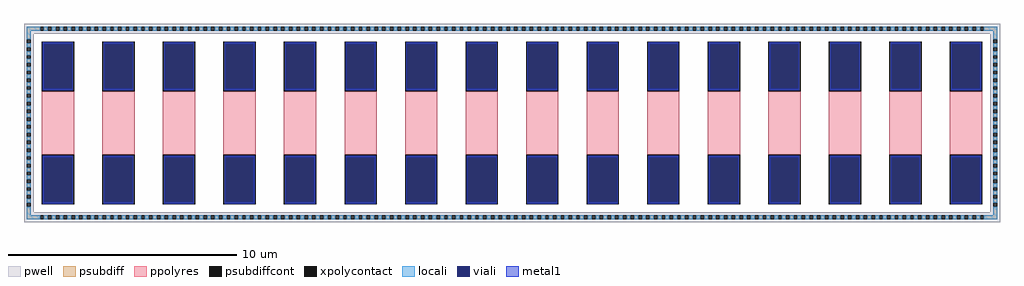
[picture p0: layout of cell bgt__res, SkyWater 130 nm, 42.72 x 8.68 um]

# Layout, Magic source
magic
tech sky130A
magscale 1 2
<< pwell >>
rect -4272 782 4272 868
rect -4272 -782 -4186 782
rect 4186 -782 4272 782
rect -4272 -868 4272 -782
<< psubdiff >>
rect -4246 808 -4131 842
rect -4097 808 -4063 842
rect -4029 808 -3995 842
rect -3961 808 -3927 842
rect -3893 808 -3859 842
rect -3825 808 -3791 842
rect -3757 808 -3723 842
rect -3689 808 -3655 842
rect -3621 808 -3587 842
rect -3553 808 -3519 842
rect -3485 808 -3451 842
rect -3417 808 -3383 842
rect -3349 808 -3315 842
rect -3281 808 -3247 842
rect -3213 808 -3179 842
rect -3145 808 -3111 842
rect -3077 808 -3043 842
rect -3009 808 -2975 842
rect -2941 808 -2907 842
rect -2873 808 -2839 842
rect -2805 808 -2771 842
rect -2737 808 -2703 842
rect -2669 808 -2635 842
rect -2601 808 -2567 842
rect -2533 808 -2499 842
rect -2465 808 -2431 842
rect -2397 808 -2363 842
rect -2329 808 -2295 842
rect -2261 808 -2227 842
rect -2193 808 -2159 842
rect -2125 808 -2091 842
rect -2057 808 -2023 842
rect -1989 808 -1955 842
rect -1921 808 -1887 842
rect -1853 808 -1819 842
rect -1785 808 -1751 842
rect -1717 808 -1683 842
rect -1649 808 -1615 842
rect -1581 808 -1547 842
rect -1513 808 -1479 842
rect -1445 808 -1411 842
rect -1377 808 -1343 842
rect -1309 808 -1275 842
rect -1241 808 -1207 842
rect -1173 808 -1139 842
rect -1105 808 -1071 842
rect -1037 808 -1003 842
rect -969 808 -935 842
rect -901 808 -867 842
rect -833 808 -799 842
rect -765 808 -731 842
rect -697 808 -663 842
rect -629 808 -595 842
rect -561 808 -527 842
rect -493 808 -459 842
rect -425 808 -391 842
rect -357 808 -323 842
rect -289 808 -255 842
rect -221 808 -187 842
rect -153 808 -119 842
rect -85 808 -51 842
rect -17 808 17 842
rect 51 808 85 842
rect 119 808 153 842
rect 187 808 221 842
rect 255 808 289 842
rect 323 808 357 842
rect 391 808 425 842
rect 459 808 493 842
rect 527 808 561 842
rect 595 808 629 842
rect 663 808 697 842
rect 731 808 765 842
rect 799 808 833 842
rect 867 808 901 842
rect 935 808 969 842
rect 1003 808 1037 842
rect 1071 808 1105 842
rect 1139 808 1173 842
rect 1207 808 1241 842
rect 1275 808 1309 842
rect 1343 808 1377 842
rect 1411 808 1445 842
rect 1479 808 1513 842
rect 1547 808 1581 842
rect 1615 808 1649 842
rect 1683 808 1717 842
rect 1751 808 1785 842
rect 1819 808 1853 842
rect 1887 808 1921 842
rect 1955 808 1989 842
rect 2023 808 2057 842
rect 2091 808 2125 842
rect 2159 808 2193 842
rect 2227 808 2261 842
rect 2295 808 2329 842
rect 2363 808 2397 842
rect 2431 808 2465 842
rect 2499 808 2533 842
rect 2567 808 2601 842
rect 2635 808 2669 842
rect 2703 808 2737 842
rect 2771 808 2805 842
rect 2839 808 2873 842
rect 2907 808 2941 842
rect 2975 808 3009 842
rect 3043 808 3077 842
rect 3111 808 3145 842
rect 3179 808 3213 842
rect 3247 808 3281 842
rect 3315 808 3349 842
rect 3383 808 3417 842
rect 3451 808 3485 842
rect 3519 808 3553 842
rect 3587 808 3621 842
rect 3655 808 3689 842
rect 3723 808 3757 842
rect 3791 808 3825 842
rect 3859 808 3893 842
rect 3927 808 3961 842
rect 3995 808 4029 842
rect 4063 808 4097 842
rect 4131 808 4246 842
rect -4246 731 -4212 808
rect 4212 731 4246 808
rect -4246 663 -4212 697
rect -4246 595 -4212 629
rect -4246 527 -4212 561
rect -4246 459 -4212 493
rect -4246 391 -4212 425
rect -4246 323 -4212 357
rect -4246 255 -4212 289
rect -4246 187 -4212 221
rect -4246 119 -4212 153
rect -4246 51 -4212 85
rect -4246 -17 -4212 17
rect -4246 -85 -4212 -51
rect -4246 -153 -4212 -119
rect -4246 -221 -4212 -187
rect -4246 -289 -4212 -255
rect -4246 -357 -4212 -323
rect -4246 -425 -4212 -391
rect -4246 -493 -4212 -459
rect -4246 -561 -4212 -527
rect -4246 -629 -4212 -595
rect -4246 -697 -4212 -663
rect 4212 663 4246 697
rect 4212 595 4246 629
rect 4212 527 4246 561
rect 4212 459 4246 493
rect 4212 391 4246 425
rect 4212 323 4246 357
rect 4212 255 4246 289
rect 4212 187 4246 221
rect 4212 119 4246 153
rect 4212 51 4246 85
rect 4212 -17 4246 17
rect 4212 -85 4246 -51
rect 4212 -153 4246 -119
rect 4212 -221 4246 -187
rect 4212 -289 4246 -255
rect 4212 -357 4246 -323
rect 4212 -425 4246 -391
rect 4212 -493 4246 -459
rect 4212 -561 4246 -527
rect 4212 -629 4246 -595
rect 4212 -697 4246 -663
rect -4246 -808 -4212 -731
rect 4212 -808 4246 -731
rect -4246 -842 -4131 -808
rect -4097 -842 -4063 -808
rect -4029 -842 -3995 -808
rect -3961 -842 -3927 -808
rect -3893 -842 -3859 -808
rect -3825 -842 -3791 -808
rect -3757 -842 -3723 -808
rect -3689 -842 -3655 -808
rect -3621 -842 -3587 -808
rect -3553 -842 -3519 -808
rect -3485 -842 -3451 -808
rect -3417 -842 -3383 -808
rect -3349 -842 -3315 -808
rect -3281 -842 -3247 -808
rect -3213 -842 -3179 -808
rect -3145 -842 -3111 -808
rect -3077 -842 -3043 -808
rect -3009 -842 -2975 -808
rect -2941 -842 -2907 -808
rect -2873 -842 -2839 -808
rect -2805 -842 -2771 -808
rect -2737 -842 -2703 -808
rect -2669 -842 -2635 -808
rect -2601 -842 -2567 -808
rect -2533 -842 -2499 -808
rect -2465 -842 -2431 -808
rect -2397 -842 -2363 -808
rect -2329 -842 -2295 -808
rect -2261 -842 -2227 -808
rect -2193 -842 -2159 -808
rect -2125 -842 -2091 -808
rect -2057 -842 -2023 -808
rect -1989 -842 -1955 -808
rect -1921 -842 -1887 -808
rect -1853 -842 -1819 -808
rect -1785 -842 -1751 -808
rect -1717 -842 -1683 -808
rect -1649 -842 -1615 -808
rect -1581 -842 -1547 -808
rect -1513 -842 -1479 -808
rect -1445 -842 -1411 -808
rect -1377 -842 -1343 -808
rect -1309 -842 -1275 -808
rect -1241 -842 -1207 -808
rect -1173 -842 -1139 -808
rect -1105 -842 -1071 -808
rect -1037 -842 -1003 -808
rect -969 -842 -935 -808
rect -901 -842 -867 -808
rect -833 -842 -799 -808
rect -765 -842 -731 -808
rect -697 -842 -663 -808
rect -629 -842 -595 -808
rect -561 -842 -527 -808
rect -493 -842 -459 -808
rect -425 -842 -391 -808
rect -357 -842 -323 -808
rect -289 -842 -255 -808
rect -221 -842 -187 -808
rect -153 -842 -119 -808
rect -85 -842 -51 -808
rect -17 -842 17 -808
rect 51 -842 85 -808
rect 119 -842 153 -808
rect 187 -842 221 -808
rect 255 -842 289 -808
rect 323 -842 357 -808
rect 391 -842 425 -808
rect 459 -842 493 -808
rect 527 -842 561 -808
rect 595 -842 629 -808
rect 663 -842 697 -808
rect 731 -842 765 -808
rect 799 -842 833 -808
rect 867 -842 901 -808
rect 935 -842 969 -808
rect 1003 -842 1037 -808
rect 1071 -842 1105 -808
rect 1139 -842 1173 -808
rect 1207 -842 1241 -808
rect 1275 -842 1309 -808
rect 1343 -842 1377 -808
rect 1411 -842 1445 -808
rect 1479 -842 1513 -808
rect 1547 -842 1581 -808
rect 1615 -842 1649 -808
rect 1683 -842 1717 -808
rect 1751 -842 1785 -808
rect 1819 -842 1853 -808
rect 1887 -842 1921 -808
rect 1955 -842 1989 -808
rect 2023 -842 2057 -808
rect 2091 -842 2125 -808
rect 2159 -842 2193 -808
rect 2227 -842 2261 -808
rect 2295 -842 2329 -808
rect 2363 -842 2397 -808
rect 2431 -842 2465 -808
rect 2499 -842 2533 -808
rect 2567 -842 2601 -808
rect 2635 -842 2669 -808
rect 2703 -842 2737 -808
rect 2771 -842 2805 -808
rect 2839 -842 2873 -808
rect 2907 -842 2941 -808
rect 2975 -842 3009 -808
rect 3043 -842 3077 -808
rect 3111 -842 3145 -808
rect 3179 -842 3213 -808
rect 3247 -842 3281 -808
rect 3315 -842 3349 -808
rect 3383 -842 3417 -808
rect 3451 -842 3485 -808
rect 3519 -842 3553 -808
rect 3587 -842 3621 -808
rect 3655 -842 3689 -808
rect 3723 -842 3757 -808
rect 3791 -842 3825 -808
rect 3859 -842 3893 -808
rect 3927 -842 3961 -808
rect 3995 -842 4029 -808
rect 4063 -842 4097 -808
rect 4131 -842 4246 -808
<< psubdiffcont >>
rect -4131 808 -4097 842
rect -4063 808 -4029 842
rect -3995 808 -3961 842
rect -3927 808 -3893 842
rect -3859 808 -3825 842
rect -3791 808 -3757 842
rect -3723 808 -3689 842
rect -3655 808 -3621 842
rect -3587 808 -3553 842
rect -3519 808 -3485 842
rect -3451 808 -3417 842
rect -3383 808 -3349 842
rect -3315 808 -3281 842
rect -3247 808 -3213 842
rect -3179 808 -3145 842
rect -3111 808 -3077 842
rect -3043 808 -3009 842
rect -2975 808 -2941 842
rect -2907 808 -2873 842
rect -2839 808 -2805 842
rect -2771 808 -2737 842
rect -2703 808 -2669 842
rect -2635 808 -2601 842
rect -2567 808 -2533 842
rect -2499 808 -2465 842
rect -2431 808 -2397 842
rect -2363 808 -2329 842
rect -2295 808 -2261 842
rect -2227 808 -2193 842
rect -2159 808 -2125 842
rect -2091 808 -2057 842
rect -2023 808 -1989 842
rect -1955 808 -1921 842
rect -1887 808 -1853 842
rect -1819 808 -1785 842
rect -1751 808 -1717 842
rect -1683 808 -1649 842
rect -1615 808 -1581 842
rect -1547 808 -1513 842
rect -1479 808 -1445 842
rect -1411 808 -1377 842
rect -1343 808 -1309 842
rect -1275 808 -1241 842
rect -1207 808 -1173 842
rect -1139 808 -1105 842
rect -1071 808 -1037 842
rect -1003 808 -969 842
rect -935 808 -901 842
rect -867 808 -833 842
rect -799 808 -765 842
rect -731 808 -697 842
rect -663 808 -629 842
rect -595 808 -561 842
rect -527 808 -493 842
rect -459 808 -425 842
rect -391 808 -357 842
rect -323 808 -289 842
rect -255 808 -221 842
rect -187 808 -153 842
rect -119 808 -85 842
rect -51 808 -17 842
rect 17 808 51 842
rect 85 808 119 842
rect 153 808 187 842
rect 221 808 255 842
rect 289 808 323 842
rect 357 808 391 842
rect 425 808 459 842
rect 493 808 527 842
rect 561 808 595 842
rect 629 808 663 842
rect 697 808 731 842
rect 765 808 799 842
rect 833 808 867 842
rect 901 808 935 842
rect 969 808 1003 842
rect 1037 808 1071 842
rect 1105 808 1139 842
rect 1173 808 1207 842
rect 1241 808 1275 842
rect 1309 808 1343 842
rect 1377 808 1411 842
rect 1445 808 1479 842
rect 1513 808 1547 842
rect 1581 808 1615 842
rect 1649 808 1683 842
rect 1717 808 1751 842
rect 1785 808 1819 842
rect 1853 808 1887 842
rect 1921 808 1955 842
rect 1989 808 2023 842
rect 2057 808 2091 842
rect 2125 808 2159 842
rect 2193 808 2227 842
rect 2261 808 2295 842
rect 2329 808 2363 842
rect 2397 808 2431 842
rect 2465 808 2499 842
rect 2533 808 2567 842
rect 2601 808 2635 842
rect 2669 808 2703 842
rect 2737 808 2771 842
rect 2805 808 2839 842
rect 2873 808 2907 842
rect 2941 808 2975 842
rect 3009 808 3043 842
rect 3077 808 3111 842
rect 3145 808 3179 842
rect 3213 808 3247 842
rect 3281 808 3315 842
rect 3349 808 3383 842
rect 3417 808 3451 842
rect 3485 808 3519 842
rect 3553 808 3587 842
rect 3621 808 3655 842
rect 3689 808 3723 842
rect 3757 808 3791 842
rect 3825 808 3859 842
rect 3893 808 3927 842
rect 3961 808 3995 842
rect 4029 808 4063 842
rect 4097 808 4131 842
rect -4246 697 -4212 731
rect -4246 629 -4212 663
rect -4246 561 -4212 595
rect -4246 493 -4212 527
rect -4246 425 -4212 459
rect -4246 357 -4212 391
rect -4246 289 -4212 323
rect -4246 221 -4212 255
rect -4246 153 -4212 187
rect -4246 85 -4212 119
rect -4246 17 -4212 51
rect -4246 -51 -4212 -17
rect -4246 -119 -4212 -85
rect -4246 -187 -4212 -153
rect -4246 -255 -4212 -221
rect -4246 -323 -4212 -289
rect -4246 -391 -4212 -357
rect -4246 -459 -4212 -425
rect -4246 -527 -4212 -493
rect -4246 -595 -4212 -561
rect -4246 -663 -4212 -629
rect -4246 -731 -4212 -697
rect 4212 697 4246 731
rect 4212 629 4246 663
rect 4212 561 4246 595
rect 4212 493 4246 527
rect 4212 425 4246 459
rect 4212 357 4246 391
rect 4212 289 4246 323
rect 4212 221 4246 255
rect 4212 153 4246 187
rect 4212 85 4246 119
rect 4212 17 4246 51
rect 4212 -51 4246 -17
rect 4212 -119 4246 -85
rect 4212 -187 4246 -153
rect 4212 -255 4246 -221
rect 4212 -323 4246 -289
rect 4212 -391 4246 -357
rect 4212 -459 4246 -425
rect 4212 -527 4246 -493
rect 4212 -595 4246 -561
rect 4212 -663 4246 -629
rect 4212 -731 4246 -697
rect -4131 -842 -4097 -808
rect -4063 -842 -4029 -808
rect -3995 -842 -3961 -808
rect -3927 -842 -3893 -808
rect -3859 -842 -3825 -808
rect -3791 -842 -3757 -808
rect -3723 -842 -3689 -808
rect -3655 -842 -3621 -808
rect -3587 -842 -3553 -808
rect -3519 -842 -3485 -808
rect -3451 -842 -3417 -808
rect -3383 -842 -3349 -808
rect -3315 -842 -3281 -808
rect -3247 -842 -3213 -808
rect -3179 -842 -3145 -808
rect -3111 -842 -3077 -808
rect -3043 -842 -3009 -808
rect -2975 -842 -2941 -808
rect -2907 -842 -2873 -808
rect -2839 -842 -2805 -808
rect -2771 -842 -2737 -808
rect -2703 -842 -2669 -808
rect -2635 -842 -2601 -808
rect -2567 -842 -2533 -808
rect -2499 -842 -2465 -808
rect -2431 -842 -2397 -808
rect -2363 -842 -2329 -808
rect -2295 -842 -2261 -808
rect -2227 -842 -2193 -808
rect -2159 -842 -2125 -808
rect -2091 -842 -2057 -808
rect -2023 -842 -1989 -808
rect -1955 -842 -1921 -808
rect -1887 -842 -1853 -808
rect -1819 -842 -1785 -808
rect -1751 -842 -1717 -808
rect -1683 -842 -1649 -808
rect -1615 -842 -1581 -808
rect -1547 -842 -1513 -808
rect -1479 -842 -1445 -808
rect -1411 -842 -1377 -808
rect -1343 -842 -1309 -808
rect -1275 -842 -1241 -808
rect -1207 -842 -1173 -808
rect -1139 -842 -1105 -808
rect -1071 -842 -1037 -808
rect -1003 -842 -969 -808
rect -935 -842 -901 -808
rect -867 -842 -833 -808
rect -799 -842 -765 -808
rect -731 -842 -697 -808
rect -663 -842 -629 -808
rect -595 -842 -561 -808
rect -527 -842 -493 -808
rect -459 -842 -425 -808
rect -391 -842 -357 -808
rect -323 -842 -289 -808
rect -255 -842 -221 -808
rect -187 -842 -153 -808
rect -119 -842 -85 -808
rect -51 -842 -17 -808
rect 17 -842 51 -808
rect 85 -842 119 -808
rect 153 -842 187 -808
rect 221 -842 255 -808
rect 289 -842 323 -808
rect 357 -842 391 -808
rect 425 -842 459 -808
rect 493 -842 527 -808
rect 561 -842 595 -808
rect 629 -842 663 -808
rect 697 -842 731 -808
rect 765 -842 799 -808
rect 833 -842 867 -808
rect 901 -842 935 -808
rect 969 -842 1003 -808
rect 1037 -842 1071 -808
rect 1105 -842 1139 -808
rect 1173 -842 1207 -808
rect 1241 -842 1275 -808
rect 1309 -842 1343 -808
rect 1377 -842 1411 -808
rect 1445 -842 1479 -808
rect 1513 -842 1547 -808
rect 1581 -842 1615 -808
rect 1649 -842 1683 -808
rect 1717 -842 1751 -808
rect 1785 -842 1819 -808
rect 1853 -842 1887 -808
rect 1921 -842 1955 -808
rect 1989 -842 2023 -808
rect 2057 -842 2091 -808
rect 2125 -842 2159 -808
rect 2193 -842 2227 -808
rect 2261 -842 2295 -808
rect 2329 -842 2363 -808
rect 2397 -842 2431 -808
rect 2465 -842 2499 -808
rect 2533 -842 2567 -808
rect 2601 -842 2635 -808
rect 2669 -842 2703 -808
rect 2737 -842 2771 -808
rect 2805 -842 2839 -808
rect 2873 -842 2907 -808
rect 2941 -842 2975 -808
rect 3009 -842 3043 -808
rect 3077 -842 3111 -808
rect 3145 -842 3179 -808
rect 3213 -842 3247 -808
rect 3281 -842 3315 -808
rect 3349 -842 3383 -808
rect 3417 -842 3451 -808
rect 3485 -842 3519 -808
rect 3553 -842 3587 -808
rect 3621 -842 3655 -808
rect 3689 -842 3723 -808
rect 3757 -842 3791 -808
rect 3825 -842 3859 -808
rect 3893 -842 3927 -808
rect 3961 -842 3995 -808
rect 4029 -842 4063 -808
rect 4097 -842 4131 -808
<< xpolycontact >>
rect -4116 276 -3834 712
rect -4116 -712 -3834 -276
rect -3586 276 -3304 712
rect -3586 -712 -3304 -276
rect -3056 276 -2774 712
rect -3056 -712 -2774 -276
rect -2526 276 -2244 712
rect -2526 -712 -2244 -276
rect -1996 276 -1714 712
rect -1996 -712 -1714 -276
rect -1466 276 -1184 712
rect -1466 -712 -1184 -276
rect -936 276 -654 712
rect -936 -712 -654 -276
rect -406 276 -124 712
rect -406 -712 -124 -276
rect 124 276 406 712
rect 124 -712 406 -276
rect 654 276 936 712
rect 654 -712 936 -276
rect 1184 276 1466 712
rect 1184 -712 1466 -276
rect 1714 276 1996 712
rect 1714 -712 1996 -276
rect 2244 276 2526 712
rect 2244 -712 2526 -276
rect 2774 276 3056 712
rect 2774 -712 3056 -276
rect 3304 276 3586 712
rect 3304 -712 3586 -276
rect 3834 276 4116 712
rect 3834 -712 4116 -276
<< ppolyres >>
rect -4116 -276 -3834 276
rect -3586 -276 -3304 276
rect -3056 -276 -2774 276
rect -2526 -276 -2244 276
rect -1996 -276 -1714 276
rect -1466 -276 -1184 276
rect -936 -276 -654 276
rect -406 -276 -124 276
rect 124 -276 406 276
rect 654 -276 936 276
rect 1184 -276 1466 276
rect 1714 -276 1996 276
rect 2244 -276 2526 276
rect 2774 -276 3056 276
rect 3304 -276 3586 276
rect 3834 -276 4116 276
<< locali >>
rect -4246 808 -4131 842
rect -4097 808 -4063 842
rect -4029 808 -3995 842
rect -3961 808 -3927 842
rect -3893 808 -3859 842
rect -3825 808 -3791 842
rect -3757 808 -3723 842
rect -3689 808 -3655 842
rect -3621 808 -3587 842
rect -3553 808 -3519 842
rect -3485 808 -3451 842
rect -3417 808 -3383 842
rect -3349 808 -3315 842
rect -3281 808 -3247 842
rect -3213 808 -3179 842
rect -3145 808 -3111 842
rect -3077 808 -3043 842
rect -3009 808 -2975 842
rect -2941 808 -2907 842
rect -2873 808 -2839 842
rect -2805 808 -2771 842
rect -2737 808 -2703 842
rect -2669 808 -2635 842
rect -2601 808 -2567 842
rect -2533 808 -2499 842
rect -2465 808 -2431 842
rect -2397 808 -2363 842
rect -2329 808 -2295 842
rect -2261 808 -2227 842
rect -2193 808 -2159 842
rect -2125 808 -2091 842
rect -2057 808 -2023 842
rect -1989 808 -1955 842
rect -1921 808 -1887 842
rect -1853 808 -1819 842
rect -1785 808 -1751 842
rect -1717 808 -1683 842
rect -1649 808 -1615 842
rect -1581 808 -1547 842
rect -1513 808 -1479 842
rect -1445 808 -1411 842
rect -1377 808 -1343 842
rect -1309 808 -1275 842
rect -1241 808 -1207 842
rect -1173 808 -1139 842
rect -1105 808 -1071 842
rect -1037 808 -1003 842
rect -969 808 -935 842
rect -901 808 -867 842
rect -833 808 -799 842
rect -765 808 -731 842
rect -697 808 -663 842
rect -629 808 -595 842
rect -561 808 -527 842
rect -493 808 -459 842
rect -425 808 -391 842
rect -357 808 -323 842
rect -289 808 -255 842
rect -221 808 -187 842
rect -153 808 -119 842
rect -85 808 -51 842
rect -17 808 17 842
rect 51 808 85 842
rect 119 808 153 842
rect 187 808 221 842
rect 255 808 289 842
rect 323 808 357 842
rect 391 808 425 842
rect 459 808 493 842
rect 527 808 561 842
rect 595 808 629 842
rect 663 808 697 842
rect 731 808 765 842
rect 799 808 833 842
rect 867 808 901 842
rect 935 808 969 842
rect 1003 808 1037 842
rect 1071 808 1105 842
rect 1139 808 1173 842
rect 1207 808 1241 842
rect 1275 808 1309 842
rect 1343 808 1377 842
rect 1411 808 1445 842
rect 1479 808 1513 842
rect 1547 808 1581 842
rect 1615 808 1649 842
rect 1683 808 1717 842
rect 1751 808 1785 842
rect 1819 808 1853 842
rect 1887 808 1921 842
rect 1955 808 1989 842
rect 2023 808 2057 842
rect 2091 808 2125 842
rect 2159 808 2193 842
rect 2227 808 2261 842
rect 2295 808 2329 842
rect 2363 808 2397 842
rect 2431 808 2465 842
rect 2499 808 2533 842
rect 2567 808 2601 842
rect 2635 808 2669 842
rect 2703 808 2737 842
rect 2771 808 2805 842
rect 2839 808 2873 842
rect 2907 808 2941 842
rect 2975 808 3009 842
rect 3043 808 3077 842
rect 3111 808 3145 842
rect 3179 808 3213 842
rect 3247 808 3281 842
rect 3315 808 3349 842
rect 3383 808 3417 842
rect 3451 808 3485 842
rect 3519 808 3553 842
rect 3587 808 3621 842
rect 3655 808 3689 842
rect 3723 808 3757 842
rect 3791 808 3825 842
rect 3859 808 3893 842
rect 3927 808 3961 842
rect 3995 808 4029 842
rect 4063 808 4097 842
rect 4131 808 4246 842
rect -4246 731 -4212 808
rect 4212 731 4246 808
rect -4246 663 -4212 697
rect -4246 595 -4212 629
rect -4246 527 -4212 561
rect -4246 459 -4212 493
rect -4246 391 -4212 425
rect -4246 323 -4212 357
rect -4246 255 -4212 289
rect 4212 663 4246 697
rect 4212 595 4246 629
rect 4212 527 4246 561
rect 4212 459 4246 493
rect 4212 391 4246 425
rect 4212 323 4246 357
rect -4246 187 -4212 221
rect -4246 119 -4212 153
rect -4246 51 -4212 85
rect -4246 -17 -4212 17
rect -4246 -85 -4212 -51
rect -4246 -153 -4212 -119
rect -4246 -221 -4212 -187
rect -4246 -289 -4212 -255
rect 4212 255 4246 289
rect 4212 187 4246 221
rect 4212 119 4246 153
rect 4212 51 4246 85
rect 4212 -17 4246 17
rect 4212 -85 4246 -51
rect 4212 -153 4246 -119
rect 4212 -221 4246 -187
rect -4246 -357 -4212 -323
rect -4246 -425 -4212 -391
rect -4246 -493 -4212 -459
rect -4246 -561 -4212 -527
rect -4246 -629 -4212 -595
rect -4246 -697 -4212 -663
rect 4212 -289 4246 -255
rect 4212 -357 4246 -323
rect 4212 -425 4246 -391
rect 4212 -493 4246 -459
rect 4212 -561 4246 -527
rect 4212 -629 4246 -595
rect 4212 -697 4246 -663
rect -4246 -808 -4212 -731
rect 4212 -808 4246 -731
rect -4246 -842 -4131 -808
rect -4097 -842 -4063 -808
rect -4029 -842 -3995 -808
rect -3961 -842 -3927 -808
rect -3893 -842 -3859 -808
rect -3825 -842 -3791 -808
rect -3757 -842 -3723 -808
rect -3689 -842 -3655 -808
rect -3621 -842 -3587 -808
rect -3553 -842 -3519 -808
rect -3485 -842 -3451 -808
rect -3417 -842 -3383 -808
rect -3349 -842 -3315 -808
rect -3281 -842 -3247 -808
rect -3213 -842 -3179 -808
rect -3145 -842 -3111 -808
rect -3077 -842 -3043 -808
rect -3009 -842 -2975 -808
rect -2941 -842 -2907 -808
rect -2873 -842 -2839 -808
rect -2805 -842 -2771 -808
rect -2737 -842 -2703 -808
rect -2669 -842 -2635 -808
rect -2601 -842 -2567 -808
rect -2533 -842 -2499 -808
rect -2465 -842 -2431 -808
rect -2397 -842 -2363 -808
rect -2329 -842 -2295 -808
rect -2261 -842 -2227 -808
rect -2193 -842 -2159 -808
rect -2125 -842 -2091 -808
rect -2057 -842 -2023 -808
rect -1989 -842 -1955 -808
rect -1921 -842 -1887 -808
rect -1853 -842 -1819 -808
rect -1785 -842 -1751 -808
rect -1717 -842 -1683 -808
rect -1649 -842 -1615 -808
rect -1581 -842 -1547 -808
rect -1513 -842 -1479 -808
rect -1445 -842 -1411 -808
rect -1377 -842 -1343 -808
rect -1309 -842 -1275 -808
rect -1241 -842 -1207 -808
rect -1173 -842 -1139 -808
rect -1105 -842 -1071 -808
rect -1037 -842 -1003 -808
rect -969 -842 -935 -808
rect -901 -842 -867 -808
rect -833 -842 -799 -808
rect -765 -842 -731 -808
rect -697 -842 -663 -808
rect -629 -842 -595 -808
rect -561 -842 -527 -808
rect -493 -842 -459 -808
rect -425 -842 -391 -808
rect -357 -842 -323 -808
rect -289 -842 -255 -808
rect -221 -842 -187 -808
rect -153 -842 -119 -808
rect -85 -842 -51 -808
rect -17 -842 17 -808
rect 51 -842 85 -808
rect 119 -842 153 -808
rect 187 -842 221 -808
rect 255 -842 289 -808
rect 323 -842 357 -808
rect 391 -842 425 -808
rect 459 -842 493 -808
rect 527 -842 561 -808
rect 595 -842 629 -808
rect 663 -842 697 -808
rect 731 -842 765 -808
rect 799 -842 833 -808
rect 867 -842 901 -808
rect 935 -842 969 -808
rect 1003 -842 1037 -808
rect 1071 -842 1105 -808
rect 1139 -842 1173 -808
rect 1207 -842 1241 -808
rect 1275 -842 1309 -808
rect 1343 -842 1377 -808
rect 1411 -842 1445 -808
rect 1479 -842 1513 -808
rect 1547 -842 1581 -808
rect 1615 -842 1649 -808
rect 1683 -842 1717 -808
rect 1751 -842 1785 -808
rect 1819 -842 1853 -808
rect 1887 -842 1921 -808
rect 1955 -842 1989 -808
rect 2023 -842 2057 -808
rect 2091 -842 2125 -808
rect 2159 -842 2193 -808
rect 2227 -842 2261 -808
rect 2295 -842 2329 -808
rect 2363 -842 2397 -808
rect 2431 -842 2465 -808
rect 2499 -842 2533 -808
rect 2567 -842 2601 -808
rect 2635 -842 2669 -808
rect 2703 -842 2737 -808
rect 2771 -842 2805 -808
rect 2839 -842 2873 -808
rect 2907 -842 2941 -808
rect 2975 -842 3009 -808
rect 3043 -842 3077 -808
rect 3111 -842 3145 -808
rect 3179 -842 3213 -808
rect 3247 -842 3281 -808
rect 3315 -842 3349 -808
rect 3383 -842 3417 -808
rect 3451 -842 3485 -808
rect 3519 -842 3553 -808
rect 3587 -842 3621 -808
rect 3655 -842 3689 -808
rect 3723 -842 3757 -808
rect 3791 -842 3825 -808
rect 3859 -842 3893 -808
rect 3927 -842 3961 -808
rect 3995 -842 4029 -808
rect 4063 -842 4097 -808
rect 4131 -842 4246 -808
<< viali >>
rect -4100 298 -3850 692
rect -3570 298 -3320 692
rect -3040 298 -2790 692
rect -2510 298 -2260 692
rect -1980 298 -1730 692
rect -1450 298 -1200 692
rect -920 298 -670 692
rect -390 298 -140 692
rect 140 298 390 692
rect 670 298 920 692
rect 1200 298 1450 692
rect 1730 298 1980 692
rect 2260 298 2510 692
rect 2790 298 3040 692
rect 3320 298 3570 692
rect 3850 298 4100 692
rect -4100 -693 -3850 -299
rect -3570 -693 -3320 -299
rect -3040 -693 -2790 -299
rect -2510 -693 -2260 -299
rect -1980 -693 -1730 -299
rect -1450 -693 -1200 -299
rect -920 -693 -670 -299
rect -390 -693 -140 -299
rect 140 -693 390 -299
rect 670 -693 920 -299
rect 1200 -693 1450 -299
rect 1730 -693 1980 -299
rect 2260 -693 2510 -299
rect 2790 -693 3040 -299
rect 3320 -693 3570 -299
rect 3850 -693 4100 -299
<< metal1 >>
rect -4106 692 -3844 706
rect -4106 298 -4100 692
rect -3850 298 -3844 692
rect -4106 285 -3844 298
rect -3576 692 -3314 706
rect -3576 298 -3570 692
rect -3320 298 -3314 692
rect -3576 285 -3314 298
rect -3046 692 -2784 706
rect -3046 298 -3040 692
rect -2790 298 -2784 692
rect -3046 285 -2784 298
rect -2516 692 -2254 706
rect -2516 298 -2510 692
rect -2260 298 -2254 692
rect -2516 285 -2254 298
rect -1986 692 -1724 706
rect -1986 298 -1980 692
rect -1730 298 -1724 692
rect -1986 285 -1724 298
rect -1456 692 -1194 706
rect -1456 298 -1450 692
rect -1200 298 -1194 692
rect -1456 285 -1194 298
rect -926 692 -664 706
rect -926 298 -920 692
rect -670 298 -664 692
rect -926 285 -664 298
rect -396 692 -134 706
rect -396 298 -390 692
rect -140 298 -134 692
rect -396 285 -134 298
rect 134 692 396 706
rect 134 298 140 692
rect 390 298 396 692
rect 134 285 396 298
rect 664 692 926 706
rect 664 298 670 692
rect 920 298 926 692
rect 664 285 926 298
rect 1194 692 1456 706
rect 1194 298 1200 692
rect 1450 298 1456 692
rect 1194 285 1456 298
rect 1724 692 1986 706
rect 1724 298 1730 692
rect 1980 298 1986 692
rect 1724 285 1986 298
rect 2254 692 2516 706
rect 2254 298 2260 692
rect 2510 298 2516 692
rect 2254 285 2516 298
rect 2784 692 3046 706
rect 2784 298 2790 692
rect 3040 298 3046 692
rect 2784 285 3046 298
rect 3314 692 3576 706
rect 3314 298 3320 692
rect 3570 298 3576 692
rect 3314 285 3576 298
rect 3844 692 4106 706
rect 3844 298 3850 692
rect 4100 298 4106 692
rect 3844 285 4106 298
rect -4106 -299 -3844 -285
rect -4106 -693 -4100 -299
rect -3850 -693 -3844 -299
rect -4106 -706 -3844 -693
rect -3576 -299 -3314 -285
rect -3576 -693 -3570 -299
rect -3320 -693 -3314 -299
rect -3576 -706 -3314 -693
rect -3046 -299 -2784 -285
rect -3046 -693 -3040 -299
rect -2790 -693 -2784 -299
rect -3046 -706 -2784 -693
rect -2516 -299 -2254 -285
rect -2516 -693 -2510 -299
rect -2260 -693 -2254 -299
rect -2516 -706 -2254 -693
rect -1986 -299 -1724 -285
rect -1986 -693 -1980 -299
rect -1730 -693 -1724 -299
rect -1986 -706 -1724 -693
rect -1456 -299 -1194 -285
rect -1456 -693 -1450 -299
rect -1200 -693 -1194 -299
rect -1456 -706 -1194 -693
rect -926 -299 -664 -285
rect -926 -693 -920 -299
rect -670 -693 -664 -299
rect -926 -706 -664 -693
rect -396 -299 -134 -285
rect -396 -693 -390 -299
rect -140 -693 -134 -299
rect -396 -706 -134 -693
rect 134 -299 396 -285
rect 134 -693 140 -299
rect 390 -693 396 -299
rect 134 -706 396 -693
rect 664 -299 926 -285
rect 664 -693 670 -299
rect 920 -693 926 -299
rect 664 -706 926 -693
rect 1194 -299 1456 -285
rect 1194 -693 1200 -299
rect 1450 -693 1456 -299
rect 1194 -706 1456 -693
rect 1724 -299 1986 -285
rect 1724 -693 1730 -299
rect 1980 -693 1986 -299
rect 1724 -706 1986 -693
rect 2254 -299 2516 -285
rect 2254 -693 2260 -299
rect 2510 -693 2516 -299
rect 2254 -706 2516 -693
rect 2784 -299 3046 -285
rect 2784 -693 2790 -299
rect 3040 -693 3046 -299
rect 2784 -706 3046 -693
rect 3314 -299 3576 -285
rect 3314 -693 3320 -299
rect 3570 -693 3576 -299
rect 3314 -706 3576 -693
rect 3844 -299 4106 -285
rect 3844 -693 3850 -299
rect 4100 -693 4106 -299
rect 3844 -706 4106 -693
<< properties >>
string FIXED_BBOX -4229 -825 4229 825
<< end >>
